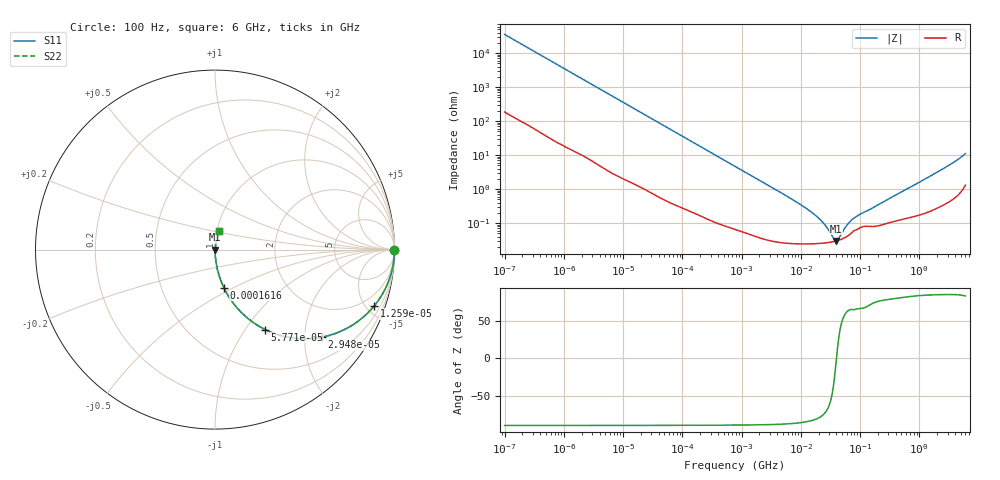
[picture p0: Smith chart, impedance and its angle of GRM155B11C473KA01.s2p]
!Murata Part Number: GRM155B11C473KA01
!These Parameters are Measured in Series Mode Connection
!Data Generated on Mar 30, 2021
!  o--ll--o
!Port1  Port2
!  o------o
!Operation Temp=25[degC], DC Bias Voltage=0[V]
!Freq. Start=100[Hz] Stop=6[GHz] 401[Steps]
# Hz S RI R 50
!Freq.(Hz) S11(Real) S11(Imag) S21(Real) S21(Imag) S12(Real) S12(Imag) S22(Real) S22(Imag)
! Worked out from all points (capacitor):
!   401 points, 100 Hz to 6 GHz, reference 50 ohm
!   read as one part in series: C = 45.4 nF near 109 Hz
!   lowest |Z| = 30 mohm at 39.84 MHz (marker M1)
!   series resonance near 39.97 MHz, so ESL is about 350 pH
!   S11 on the Smith chart (normalised r, x): 100 Hz: open; 12.59 kHz: 1.03, -5.66; 29.48 kHz: 1.02, -2.42; 57.71 kHz: 1.01, -1.24; 161.6 kHz: 1.00, -0.45; 6 GHz: 1.03, +0.22
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100  1 -0.00285  2.31e-05 0.00285  2.31e-05 0.00285  1 -0.00285
2008  0.9965 -0.0565  0.00353 0.0565  0.00353 0.0565  0.9965 -0.0565
5378  0.9768 -0.1478  0.0232 0.1478  0.0232 0.1478  0.9768 -0.1478
12592  0.8874 -0.3132  0.1126 0.3132  0.1126 0.3132  0.8874 -0.3132
18841  0.7804 -0.4109  0.2196 0.4109  0.2196 0.4109  0.7804 -0.4109
29482  0.5944 -0.4878  0.4056 0.4878  0.4056 0.4878  0.5944 -0.4878
40335  0.4407 -0.4932  0.5593 0.4932  0.5593 0.4932  0.4407 -0.4932
57709  0.2795 -0.4454  0.7205 0.4454  0.7205 0.4454  0.2795 -0.4454
94437  0.1281 -0.3304  0.8719 0.3304  0.8719 0.3304  0.1281 -0.3304
161617  0.0489 -0.2113  0.9511 0.2113  0.9511 0.2113  0.0489 -0.2113
774597  0.00283 -0.0467  0.9972 0.0467  0.9972 0.0467  0.00283 -0.0467
6353432  0.000283 -0.00562  0.9997 0.00562  0.9997 0.00562  0.000283 -0.00562
1.555665e7  0.000249 -0.002  0.9998 0.002  0.9998 0.002  0.000249 -0.002
2.327686e7  0.000257 -0.00104  0.9997 0.00104  0.9997 0.00104  0.000257 -0.00104
3.64232e7  0.000288 -0.000171  0.9997 0.000171  0.9997 0.000171  0.000288 -0.000171
3.983537e7  0.000299 -6.2e-06  0.9997 6.2e-06  0.9997 6.2e-06  0.000299 -6.2e-06
4.35672e7  0.000313 0.000158  0.9997 -0.000158  0.9997 -0.000158  0.000313 0.000158
6.233367e7  0.00042 0.000837  0.9996 -0.000837  0.9996 -0.000837  0.00042 0.000837
7.797396e7  0.000584 0.00125  0.9994 -0.00125  0.9994 -0.00125  0.000584 0.00125
3.124326e8  0.00105 0.00518  0.999 -0.00518  0.999 -0.00518  0.00105 0.00518
2.34314e9  0.00443 0.0363  0.9956 -0.0363  0.9956 -0.0363  0.00443 0.0363
6e9  0.0242 0.1054  0.9758 -0.1054  0.9758 -0.1054  0.0242 0.1054
